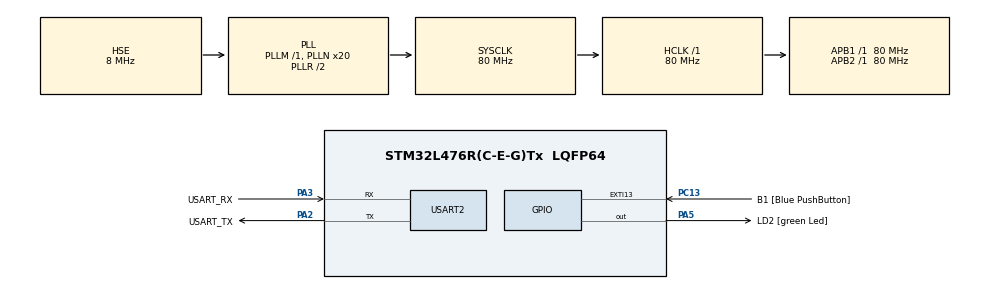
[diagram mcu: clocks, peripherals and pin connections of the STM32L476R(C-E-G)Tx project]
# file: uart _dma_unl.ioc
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Dma.Request0=USART2_RX
Dma.Request1=USART2_TX
Dma.USART2_RX.0.Direction=DMA_PERIPH_TO_MEMORY
Dma.USART2_RX.0.Instance=DMA1_Channel6
Dma.USART2_RX.0.MemDataAlignment=DMA_MDATAALIGN_BYTE
Dma.USART2_RX.0.MemInc=DMA_MINC_ENABLE
Dma.USART2_RX.0.Mode=DMA_CIRCULAR
Dma.USART2_RX.0.PeriphDataAlignment=DMA_PDATAALIGN_BYTE
Dma.USART2_RX.0.PeriphInc=DMA_PINC_DISABLE
Dma.USART2_RX.0.Priority=DMA_PRIORITY_LOW
Dma.USART2_TX.1.Direction=DMA_MEMORY_TO_PERIPH
Dma.USART2_TX.1.Instance=DMA1_Channel7
Dma.USART2_TX.1.MemDataAlignment=DMA_MDATAALIGN_BYTE
Dma.USART2_TX.1.MemInc=DMA_MINC_ENABLE
Dma.USART2_TX.1.Mode=DMA_CIRCULAR
Dma.USART2_TX.1.PeriphDataAlignment=DMA_PDATAALIGN_BYTE
Dma.USART2_TX.1.PeriphInc=DMA_PINC_DISABLE
Dma.USART2_TX.1.Priority=DMA_PRIORITY_LOW
Mcu.Family=STM32L4
Mcu.Name=STM32L476R(C-E-G)Tx
Mcu.Package=LQFP64
NVIC.DMA1_Channel6_IRQn=true\:0\:0\:false\:false\:true\:false\:true
NVIC.DMA1_Channel7_IRQn=true\:0\:0\:false\:false\:true\:false\:true
NVIC.PriorityGroup=NVIC_PRIORITYGROUP_4
NVIC.USART2_IRQn=true\:0\:0\:false\:false\:true\:true\:true
PA13\ (JTMS-SWDIO).GPIO_Label=TMS
PA13\ (JTMS-SWDIO).Mode=Serial_Wire
PA13\ (JTMS-SWDIO).Signal=SYS_JTMS-SWDIO
PA14\ (JTCK-SWCLK).GPIO_Label=TCK
PA14\ (JTCK-SWCLK).Mode=Serial_Wire
PA14\ (JTCK-SWCLK).Signal=SYS_JTCK-SWCLK
PA2.GPIO_Label=USART_TX
PA2.GPIO_Mode=GPIO_MODE_AF_PP
PA2.GPIO_PuPd=GPIO_NOPULL
PA2.GPIO_Speed=GPIO_SPEED_FREQ_VERY_HIGH
PA2.Mode=Asynchronous
PA2.Signal=USART2_TX
PA3.GPIO_Label=USART_RX
PA3.GPIO_Mode=GPIO_MODE_AF_PP
PA3.GPIO_PuPd=GPIO_NOPULL
PA3.GPIO_Speed=GPIO_SPEED_FREQ_VERY_HIGH
PA3.Mode=Asynchronous
PA3.Signal=USART2_RX
PA5.GPIO_Label=LD2 [green Led]
PA5.GPIO_ModeDefaultOutputPP=GPIO_MODE_OUTPUT_PP
PA5.GPIO_PuPd=GPIO_NOPULL
PA5.GPIO_Speed=GPIO_SPEED_FREQ_LOW
PA5.Signal=GPIO_Output
PB3\ (JTDO-TRACESWO).GPIO_Label=SWO
PB3\ (JTDO-TRACESWO).Signal=SYS_JTDO-SWO
PC13.GPIO_Label=B1 [Blue PushButton]
PC13.GPIO_ModeDefaultEXTI=GPIO_MODE_IT_FALLING
PC13.GPIO_PuPd=GPIO_NOPULL
PC13.Signal=GPXTI13
PC14-OSC32_IN\ (PC14).Signal=RCC_OSC32_IN
PC15-OSC32_OUT\ (PC15).Signal=RCC_OSC32_OUT
PH0-OSC_IN\ (PH0).Mode=HSE-External-Oscillator
PH0-OSC_IN\ (PH0).Signal=RCC_OSC_IN
PH1-OSC_OUT\ (PH1).Mode=HSE-External-Oscillator
PH1-OSC_OUT\ (PH1).Signal=RCC_OSC_OUT
ProjectManager.HeapSize=0x200
ProjectManager.StackSize=0x400
ProjectManager.TargetToolchain=MDK-ARM V5.27
RCC.ADCFreq_Value=32000000
RCC.AHBFreq_Value=80000000
RCC.APB1Freq_Value=80000000
RCC.APB1TimFreq_Value=80000000
RCC.APB2Freq_Value=80000000
RCC.APB2TimFreq_Value=80000000
RCC.CortexFreq_Value=80000000
RCC.HCLKFreq_Value=80000000
RCC.HSE_VALUE=8000000
RCC.HSI_VALUE=16000000
RCC.LSE_VALUE=32768
RCC.MSI_VALUE=4000000
RCC.PLLN=20
RCC.PLLSourceVirtual=RCC_PLLSOURCE_HSE
RCC.PREFETCH_ENABLE=1
RCC.SYSCLKFreq_VALUE=80000000
RCC.SYSCLKSource=RCC_SYSCLKSOURCE_PLLCLK
RCC.USBFreq_Value=32000000
RCC.VCOOutputFreq_Value=160000000
USART2.VirtualMode-Asynchronous=VM_ASYNC
board=NUCLEO-L476RG

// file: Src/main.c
/* USER CODE BEGIN Header */
/**
  ******************************************************************************
  * @file           : main.c
  * @brief          : Main program body
  ******************************************************************************
  * @attention
  *
  * <h2><center>&copy; Copyright (c) 2020 STMicroelectronics.
  * All rights reserved.</center></h2>
  *
  * This software component is licensed by ST under BSD 3-Clause license,
  * the "License"; You may not use this file except in compliance with the
  * License. You may obtain a copy of the License at:
  *                        opensource.org/licenses/BSD-3-Clause
  *
  ******************************************************************************
  */
/* USER CODE END Header */

#include "main.h"
#include "dma.h"
#include "usart.h"
#include "gpio.h"

/* USER CODE BEGIN Includes */
#include "stdio.h"
/* USER CODE END Includes */

/* USER CODE BEGIN PD */
 #define length  100
/* USER CODE END PD */

/* USER CODE BEGIN PV */

  uint8_t Rxbuffer[length] = {0x0};
	uint8_t Rxflag=0, Rxlen ;
/* USER CODE END PV */

void SystemClock_Config(void);

int main(void)
{

  /* MCU Configuration--------------------------------------------------------*/

  /* Reset of all peripherals, Initializes the Flash interface and the Systick. */
  HAL_Init();

  /* Configure the system clock */
  SystemClock_Config();

  /* Initialize all configured peripherals */
  MX_GPIO_Init();
  MX_DMA_Init();
  MX_USART2_UART_Init();
  /* USER CODE BEGIN 2 */
  /* 使能串口2的中断 */
	printf("This is a USART DMA Receive Test!!!\r\n");

	 __HAL_UART_ENABLE_IT(&huart2,UART_IT_IDLE );
	 /* 开启DMA */

	HAL_UART_Receive_DMA(&huart2,Rxbuffer,length );

  /* USER CODE END 2 */

  /* Infinite loop */
  /* USER CODE BEGIN WHILE */
  while (1)
  {
     if(Rxflag == 1)  //  如果已经中断接收了
			{
				printf ("length = %d \r\n", length );

			 for( uint8_t i=0; i < length;i++)
			 {
			   printf ("Rxbuffer[i] = %d \r\n", Rxbuffer[i] );
				 //HAL_Delay(200);
			 }
			  for( uint8_t i=0; i < length;i++)
			 {
			   Rxbuffer[i] = 0;  // memset(Rxbuffer,0,sizeof(Rxbuffer));
				  Rxflag = 0;
			 }
			 HAL_UART_Receive_DMA(&huart2, Rxbuffer , length);

			}

    /* USER CODE END WHILE */

  }
}

void SystemClock_Config(void)
{
  RCC_OscInitTypeDef RCC_OscInitStruct = {0};
  RCC_ClkInitTypeDef RCC_ClkInitStruct = {0};
  RCC_PeriphCLKInitTypeDef PeriphClkInit = {0};

  /** Initializes the CPU, AHB and APB busses clocks
  */
  RCC_OscInitStruct.OscillatorType = RCC_OSCILLATORTYPE_HSE;
  RCC_OscInitStruct.HSEState = RCC_HSE_ON;
  RCC_OscInitStruct.PLL.PLLState = RCC_PLL_ON;
  RCC_OscInitStruct.PLL.PLLSource = RCC_PLLSOURCE_HSE;
  RCC_OscInitStruct.PLL.PLLM = 1;
  RCC_OscInitStruct.PLL.PLLN = 20;
  RCC_OscInitStruct.PLL.PLLP = RCC_PLLP_DIV7;
  RCC_OscInitStruct.PLL.PLLQ = RCC_PLLQ_DIV2;
  RCC_OscInitStruct.PLL.PLLR = RCC_PLLR_DIV2;
  if (HAL_RCC_OscConfig(&RCC_OscInitStruct) != HAL_OK)
  {
    Error_Handler();
  }
  /** Initializes the CPU, AHB and APB busses clocks
  */
  RCC_ClkInitStruct.ClockType = RCC_CLOCKTYPE_HCLK|RCC_CLOCKTYPE_SYSCLK
                              |RCC_CLOCKTYPE_PCLK1|RCC_CLOCKTYPE_PCLK2;
  RCC_ClkInitStruct.SYSCLKSource = RCC_SYSCLKSOURCE_PLLCLK;
  RCC_ClkInitStruct.AHBCLKDivider = RCC_SYSCLK_DIV1;
  RCC_ClkInitStruct.APB1CLKDivider = RCC_HCLK_DIV1;
  RCC_ClkInitStruct.APB2CLKDivider = RCC_HCLK_DIV1;

  if (HAL_RCC_ClockConfig(&RCC_ClkInitStruct, FLASH_LATENCY_4) != HAL_OK)
  {
    Error_Handler();
  }
  PeriphClkInit.PeriphClockSelection = RCC_PERIPHCLK_USART2;
  PeriphClkInit.Usart2ClockSelection = RCC_USART2CLKSOURCE_PCLK1;
  if (HAL_RCCEx_PeriphCLKConfig(&PeriphClkInit) != HAL_OK)
  {
    Error_Handler();
  }
  /** Configure the main internal regulator output voltage
  */
  if (HAL_PWREx_ControlVoltageScaling(PWR_REGULATOR_VOLTAGE_SCALE1) != HAL_OK)
  {
    Error_Handler();
  }
}

/* USER CODE BEGIN 4 */
int fputc(int ch, FILE *f)
{
      HAL_UART_Transmit(&huart2, (uint8_t *)&ch,1, 0xFFFF);
      return ch;
}
/* USER CODE END 4 */

void Error_Handler(void)
{
}

/************************ (C) COPYRIGHT STMicroelectronics *****END OF FILE****/
